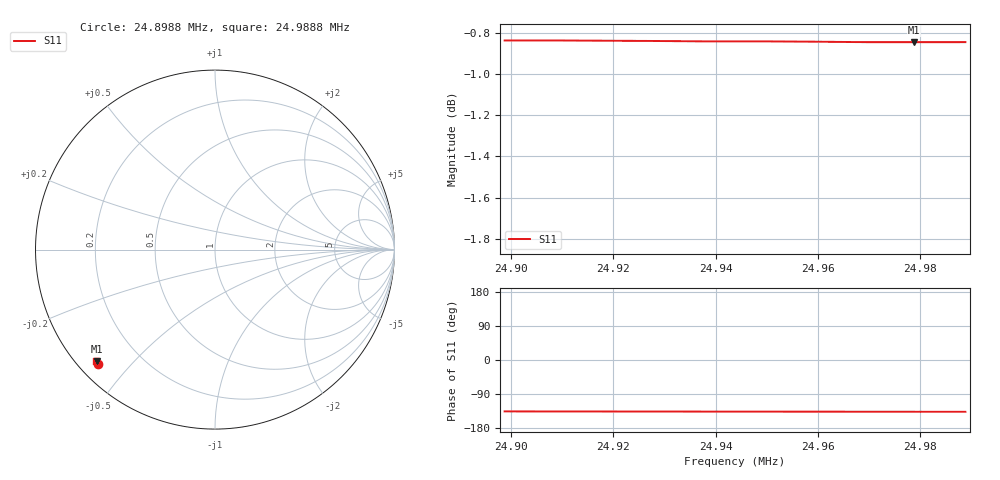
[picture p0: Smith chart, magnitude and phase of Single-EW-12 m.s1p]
# HZ S RI R 50
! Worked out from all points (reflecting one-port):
!   10 points, 24.8988 MHz to 24.9888 MHz, reference 50 ohm
!   lowest |S11| = -0.8 dB at 24.9788 MHz (marker M1), VSWR 20.59, Z = 2.81 - j19.8 ohm
!   phase of S11 starts at -136 deg and turns -1 deg over the sweep
2.489876e7  -0.6497 -0.6347
2.490876e7  -0.651 -0.6333
2.491876e7  -0.6521 -0.6319
2.492877e7  -0.6533 -0.6305
2.493877e7  -0.6545 -0.629
2.494878e7  -0.6558 -0.6276
2.495878e7  -0.657 -0.6262
2.496878e7  -0.6581 -0.6247
2.497879e7  -0.6595 -0.6232
2.498879e7  -0.6606 -0.622
